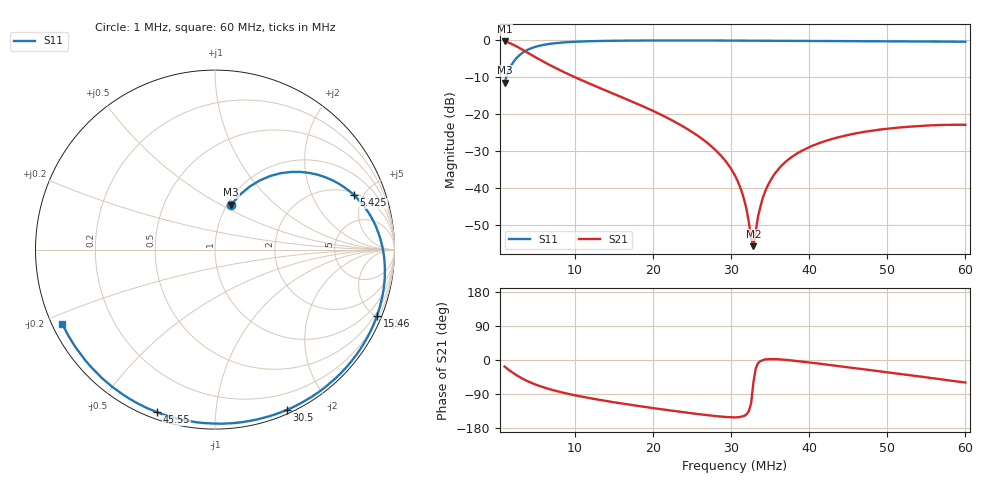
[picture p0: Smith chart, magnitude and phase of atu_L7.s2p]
! S11/S21 from S-A-A-2 VNA
! Written 2026-11-14 07:42:21 by the saav2 MCP server
! S12 and S22 were not measured (1.5-port VNA) and are written as 0
# HZ S RI R 50
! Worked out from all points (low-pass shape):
!   201 points, 1 MHz to 60 MHz, reference 50 ohm
!   highest |S21| = -0.34 dB at 1 MHz (marker M1); lowest = -55.6 dB at 32.86 MHz (marker M2)
!   |S21| within 3 dB of the highest: start of sweep to 3.861 MHz
!   lowest |S11| = -11.5 dB at 1 MHz (marker M3), VSWR 1.72, Z = 52.2 + j28.1 ohm
!   |S11| at or under -10 dB: start of sweep to 1.22 MHz
!   S12 and S22 are empty: the file has one direction only
!   S11 on the Smith chart (normalised r, x): 1 MHz: 1.04, +0.56; 5.425 MHz: 2.17, +4.26; 15.46 MHz: 0.34, -5.07; 30.5 MHz: 0.04, -1.55; 45.55 MHz: 0.03, -0.70; 60 MHz: 0.03, -0.23
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1000000  0.0907 0.25  0.917 -0.2883  0 0  0 0
1885000  0.2489 0.3851  0.7548 -0.4594  0 0  0 0
2770000  0.4222 0.4325  0.5775 -0.5414  0 0  0 0
5425000  0.7755 0.3023  0.203 -0.5085  0 0  0 0
7785000  0.9021 0.1147  0.0515 -0.4015  0 0  0 0
1.103e7  0.9464 -0.1151  -0.0358 -0.2788  0 0  0 0
1.5455e7  0.9027 -0.3684  -0.0697 -0.1643  0 0  0 0
2.0765e7  0.7718 -0.6071  -0.0638 -0.0784  0 0  0 0
2.696e7  0.5515 -0.8112  -0.0337 -0.0231  0 0  0 0
2.873e7  0.4784 -0.8553  -0.0235 -0.0139  0 0  0 0
3.05e7  0.4013 -0.8923  -0.013 -0.00707  0 0  0 0
3.168e7  0.3482 -0.9133  -0.00585 -0.00374  0 0  0 0
3.2565e7  0.3078 -0.9271  -0.000877 -0.00198  0 0  0 0
3.286e7  0.2934 -0.9309  0.000857 -0.00141  0 0  0 0
3.345e7  0.2658 -0.9385  0.00411 -0.000596  0 0  0 0
3.404e7  0.2382 -0.9455  0.00729 -8.58e-05  0 0  0 0
3.522e7  0.1809 -0.9566  0.0136 0.000528  0 0  0 0
3.7285e7  0.0807 -0.9677  0.0242 -5.35e-05  0 0  0 0
4.053e7  -0.0798 -0.9643  0.0375 -0.00511  0 0  0 0
4.5545e7  -0.3237 -0.9055  0.0503 -0.0191  0 0  0 0
5.0265e7  -0.5354 -0.7919  0.0534 -0.035  0 0  0 0
6e7  -0.8504 -0.413  0.0365 -0.0617  0 0  0 0
